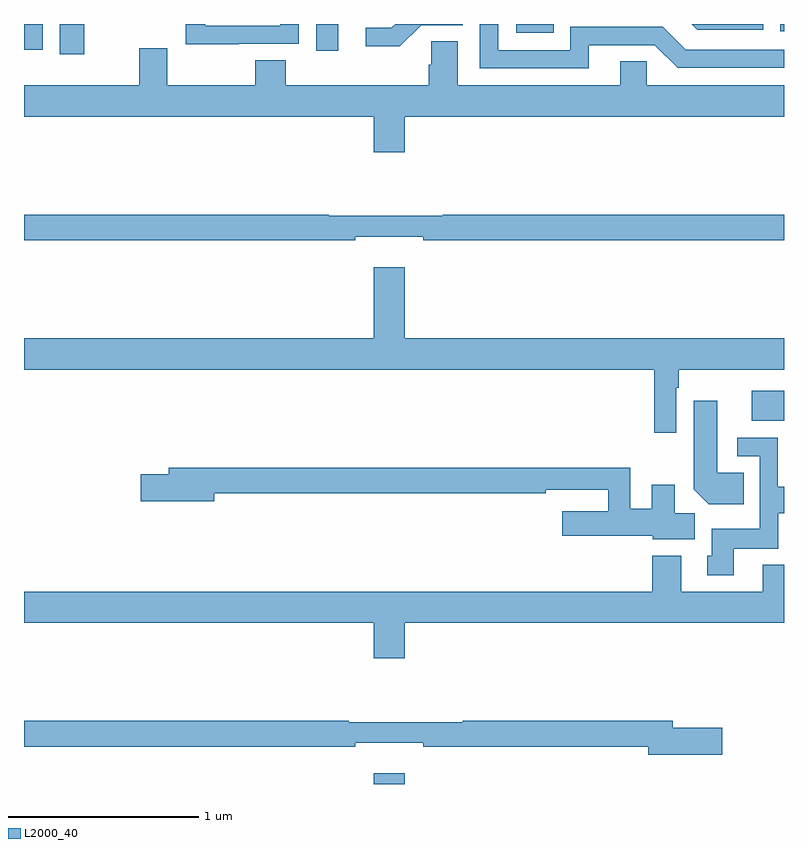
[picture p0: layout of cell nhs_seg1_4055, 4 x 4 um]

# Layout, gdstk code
import gdstk
lib = gdstk.Library(unit=1e-6, precision=1e-09)
def R(c, l, rs):  # rectangles x0, y0, x1, y1
    for r in rs: c.add(gdstk.rectangle(r[:2], r[2:], *l))
def P(c, l, *ps):  # polygons
    for p in ps: c.add(gdstk.Polygon(p, *l))
L2000_40 = (2000, 40)

nhs_seg1_4055 = lib.new_cell('nhs_seg1_4055')
R(nhs_seg1_4055, L2000_40, [(332.84,568.199,333.004,568.255), (334.83,570.11,335,570.268), (331.187,572.04,331.318,572.199), (332.538,572.058,332.653,572.199), (331,572.064,331.099,572.199), (333.591,572.153,333.789,572.199), (334.98,572.16,335,572.199)])
P(nhs_seg1_4055, L2000_40, [(334.89,572.199),(334.514,572.199),(334.544,572.169),(334.89,572.169)],
  [(333.973,572.088),(334.32,572.088),(334.44,571.968),(335,571.968),(335,572.064),(334.482,572.064),(334.362,572.184),(333.876,572.184),(333.876,572.061),(333.495,572.061),(333.495,572.199),(333.399,572.199),(333.399,571.965),(333.973,571.965)],
  [(332.129,572.094),(332.445,572.094),(332.445,572.199),(332.349,572.199),(332.349,572.19),(331.953,572.19),(331.953,572.199),(331.852,572.199),(331.852,572.093),(332.129,572.093)],
  [(333.09,572.193),(333.309,572.193),(333.309,572.199),(332.954,572.199),(332.933,572.178),(332.799,572.178),(332.799,572.081),(332.977,572.081)],
  [(333.004,571.712),(335,571.712),(335,571.876),(334.278,571.876),(334.278,572.003),(334.139,572.003),(334.139,571.876),(333.283,571.876),(333.283,572.108),(333.144,572.108),(333.144,571.985),(333.131,571.985),(333.131,571.876),(332.378,571.876),(332.378,572.009),(332.218,572.009),(332.218,571.876),(331.755,571.876),(331.755,572.071),(331.607,572.071),(331.607,571.876),(331,571.876),(331,571.712),(332.84,571.712),(332.84,571.524),(333.004,571.524)],
  [(332.744,571.079),(333.1,571.079),(333.1,571.06),(335,571.06),(335,571.196),(333.203,571.196),(333.203,571.189),(332.603,571.189),(332.603,571.196),(331,571.196),(331,571.06),(332.744,571.06)],
  [(334.434,570.284),(334.447,570.284),(334.447,570.38),(335,570.38),(335,570.544),(333.004,570.544),(333.004,570.919),(332.84,570.919),(332.84,570.544),(331,570.544),(331,570.38),(334.318,570.38),(334.318,570.048),(334.434,570.048)],
  [(334.787,569.836),(334.648,569.836),(334.648,570.217),(334.526,570.217),(334.526,569.75),(334.604,569.672),(334.787,569.672)],
  [(334.735,569.438),(334.971,569.438),(334.971,569.624),(335,569.624),(335,569.764),(334.968,569.764),(334.968,570.021),(334.755,570.021),(334.755,569.925),(334.872,569.925),(334.872,569.542),(334.619,569.542),(334.619,569.4),(334.595,569.4),(334.595,569.298),(334.735,569.298)],
  [(334.531,569.624),(334.426,569.624),(334.426,569.773),(334.304,569.773),(334.304,569.648),(334.191,569.648),(334.191,569.864),(331.763,569.864),(331.763,569.828),(331.614,569.828),(331.614,569.686),(332.002,569.686),(332.002,569.728),(333.746,569.728),(333.746,569.748),(334.075,569.748),(334.075,569.635),(333.834,569.635),(333.834,569.506),(334.308,569.506),(334.308,569.486),(334.531,569.486)],
  [(333.004,569.048),(335,569.048),(335,569.353),(334.889,569.353),(334.889,569.212),(334.459,569.212),(334.459,569.401),(334.307,569.401),(334.307,569.212),(331,569.212),(331,569.048),(332.84,569.048),(332.84,568.86),(333.004,568.86)],
  [(334.675,568.496),(334.414,568.496),(334.414,568.532),(333.31,568.532),(333.31,568.525),(332.71,568.525),(332.71,568.532),(331,568.532),(331,568.396),(332.744,568.396),(332.744,568.415),(333.1,568.415),(333.1,568.396),(334.286,568.396),(334.286,568.354),(334.675,568.354)])

lib.write_gds('nhs_seg1_4055.gds')
